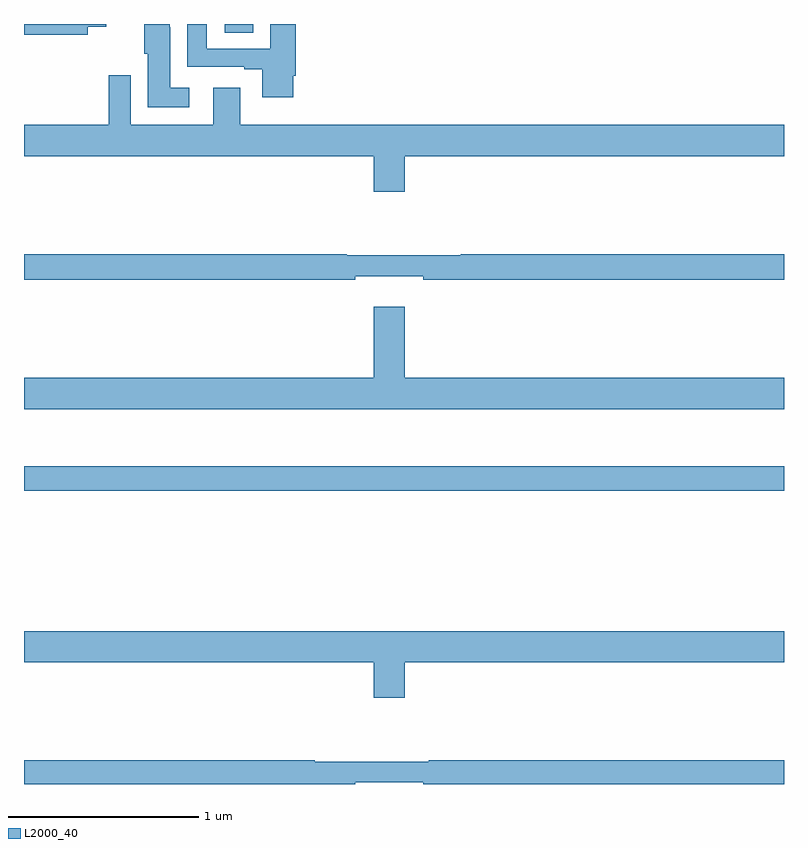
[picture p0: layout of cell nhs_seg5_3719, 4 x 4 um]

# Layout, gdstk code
import gdstk
lib = gdstk.Library(unit=1e-6, precision=1e-09)
def R(c, l, rs):  # rectangles x0, y0, x1, y1
    for r in rs: c.add(gdstk.rectangle(r[:2], r[2:], *l))
def P(c, l, *ps):  # polygons
    for p in ps: c.add(gdstk.Polygon(p, *l))
L2000_40 = (2000, 40)

nhs_seg5_3719 = lib.new_cell('nhs_seg5_3719')
R(nhs_seg5_3719, L2000_40, [(331,844.342,335,844.471), (332.057,846.754,332.206,846.799)])
P(nhs_seg5_3719, L2000_40, [(331.336,846.784),(331.432,846.784),(331.432,846.799),(331,846.799),(331,846.742),(331.336,846.742)],
  [(331.87,846.463),(331.771,846.463),(331.771,846.782),(331.767,846.782),(331.767,846.799),(331.634,846.799),(331.634,846.642),(331.652,846.642),(331.652,846.362),(331.87,846.362)],
  [(332.416,846.526),(332.429,846.526),(332.429,846.799),(332.297,846.799),(332.297,846.669),(331.963,846.669),(331.963,846.799),(331.859,846.799),(331.859,846.573),(332.159,846.573),(332.159,846.561),(332.255,846.561),(332.255,846.414),(332.416,846.414)],
  [(333.004,846.104),(335,846.104),(335,846.268),(332.137,846.268),(332.137,846.463),(331.997,846.463),(331.997,846.268),(331.563,846.268),(331.563,846.529),(331.447,846.529),(331.447,846.268),(331,846.268),(331,846.104),(332.84,846.104),(332.84,845.916),(333.004,845.916)],
  [(332.744,845.471),(333.1,845.471),(333.1,845.452),(335,845.452),(335,845.588),(333.298,845.588),(333.298,845.581),(332.698,845.581),(332.698,845.588),(331,845.588),(331,845.452),(332.744,845.452)],
  [(335,844.936),(333.004,844.936),(333.004,845.311),(332.84,845.311),(332.84,844.936),(331,844.936),(331,844.772),(335,844.772)],
  [(333.004,843.44),(335,843.44),(335,843.604),(331,843.604),(331,843.44),(332.84,843.44),(332.84,843.252),(333.004,843.252)],
  [(332.744,842.807),(333.1,842.807),(333.1,842.799),(335,842.799),(335,842.924),(333.13,842.924),(333.13,842.917),(332.53,842.917),(332.53,842.924),(331,842.924),(331,842.799),(332.744,842.799)])

lib.write_gds('nhs_seg5_3719.gds')
